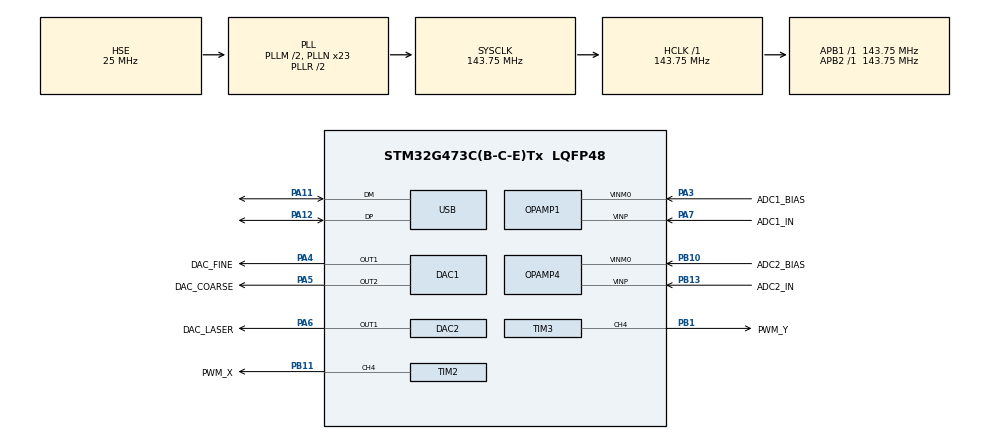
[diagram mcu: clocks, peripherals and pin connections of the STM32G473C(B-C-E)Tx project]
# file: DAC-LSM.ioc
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ADC1.Channel-2\#ChannelRegularConversion=ADC_CHANNEL_VOPAMP1
ADC1.EnableRegularConversion=ENABLE
ADC1.NbrOfConversionFlag=1
ADC1.OffsetNumber-2\#ChannelRegularConversion=ADC_OFFSET_NONE
ADC1.OversamplingMode=ENABLE
ADC1.Rank-2\#ChannelRegularConversion=1
ADC1.Ratio=ADC_OVERSAMPLING_RATIO_8
ADC1.SamplingTime-2\#ChannelRegularConversion=ADC_SAMPLETIME_2CYCLES_5
ADC1.master=1
ADC5.Channel-1\#ChannelRegularConversion=ADC_CHANNEL_VOPAMP4
ADC5.NbrOfConversionFlag=1
ADC5.OffsetNumber-1\#ChannelRegularConversion=ADC_OFFSET_NONE
ADC5.OversamplingMode=ENABLE
ADC5.Rank-1\#ChannelRegularConversion=1
ADC5.Ratio=ADC_OVERSAMPLING_RATIO_8
ADC5.SamplingTime-1\#ChannelRegularConversion=ADC_SAMPLETIME_2CYCLES_5
DAC1.DAC_Channel-DAC_OUT2=DAC_CHANNEL_2
DAC3.DAC_Channel-DAC_OUT2_Int=DAC_CHANNEL_2
Mcu.Family=STM32G4
Mcu.Name=STM32G473C(B-C-E)Tx
Mcu.Package=LQFP48
NVIC.PriorityGroup=NVIC_PRIORITYGROUP_4
NVIC.USB_LP_IRQn=true\:0\:0\:false\:false\:true\:false\:true\:true
PA11.Mode=Device
PA11.Signal=USB_DM
PA12.Mode=Device
PA12.Signal=USB_DP
PA13.Mode=Trace_Asynchronous_SW
PA13.Signal=SYS_JTMS-SWDIO
PA14.Mode=Trace_Asynchronous_SW
PA14.Signal=SYS_JTCK-SWCLK
PA3.GPIO_Label=ADC1_BIAS
PA3.Mode=PGA Internally connected_IO0_BIAS
PA3.Signal=OPAMP1_VINM0
PA4.GPIO_Label=DAC_FINE
PA4.Signal=COMP_DAC11_group
PA5.GPIO_Label=DAC_COARSE
PA5.Signal=COMP_DAC12_group
PA6.GPIO_Label=DAC_LASER
PA6.Signal=COMP_DAC21_group
PA7.GPIO_Label=ADC1_IN
PA7.Mode=PGA Internally connected_IO0_BIAS
PA7.Signal=OPAMP1_VINP
PB1.GPIO_Label=PWM_Y
PB1.Signal=S_TIM3_CH4
PB10.GPIO_Label=ADC2_BIAS
PB10.Mode=PGA Internally connected_IO0_BIAS
PB10.Signal=OPAMP4_VINM0
PB11.GPIO_Label=PWM_X
PB11.Signal=S_TIM2_CH4
PB13.GPIO_Label=ADC2_IN
PB13.Mode=PGA Internally connected_IO0_BIAS
PB13.Signal=OPAMP4_VINP
PB3.Mode=Trace_Asynchronous_SW
PB3.Signal=SYS_JTDO-SWO
PF0-OSC_IN.Mode=HSE-External-Oscillator
PF0-OSC_IN.Signal=RCC_OSC_IN
PF1-OSC_OUT.Mode=HSE-External-Oscillator
PF1-OSC_OUT.Signal=RCC_OSC_OUT
ProjectManager.HeapSize=0x200
ProjectManager.StackSize=0x400
ProjectManager.TargetToolchain=STM32CubeIDE
RCC.ADC12Freq_Value=143750000
RCC.ADC345Freq_Value=143750000
RCC.AHBFreq_Value=143750000
RCC.APB1Freq_Value=143750000
RCC.APB1TimFreq_Value=143750000
RCC.APB2Freq_Value=143750000
RCC.APB2TimFreq_Value=143750000
RCC.CortexFreq_Value=143750000
RCC.EXTERNAL_CLOCK_VALUE=12288000
RCC.HCLKFreq_Value=143750000
RCC.HSE_VALUE=25000000
RCC.HSI48_VALUE=48000000
RCC.HSI_VALUE=16000000
RCC.LSE_VALUE=32768
RCC.PLLM=RCC_PLLM_DIV2
RCC.PLLN=23
RCC.PLLQ=RCC_PLLQ_DIV6
RCC.PLLSourceVirtual=RCC_PLLSOURCE_HSE
RCC.SYSCLKFreq_VALUE=143750000
RCC.SYSCLKSource=RCC_SYSCLKSOURCE_PLLCLK
RCC.USBFreq_Value=47916666.666666664
RCC.VCOOutputFreq_Value=287500000
SH.COMP_DAC11_group.0=DAC1_OUT1,DAC_OUT1
SH.COMP_DAC12_group.0=DAC1_OUT2,DAC_OUT2
SH.COMP_DAC21_group.0=DAC2_OUT1,DAC_OUT1
SH.S_TIM2_CH4.0=TIM2_CH4,PWM Generation4 CH4
SH.S_TIM3_CH4.0=TIM3_CH4,PWM Generation4 CH4
TIM1.CounterMode=TIM_COUNTERMODE_UP
TIM1.PeriodNoDither=65535-1
TIM1.Prescaler=143.75-1
TIM2.Channel-PWM\ Generation4\ CH4=TIM_CHANNEL_4
TIM2.PeriodNoDither=4095
TIM2.Prescaler=2-1
TIM3.Channel-PWM\ Generation4\ CH4=TIM_CHANNEL_4
TIM3.PeriodNoDither=4095
TIM3.Prescaler=2-1
USB_DEVICE.CLASS_NAME_FS=CDC
USB_DEVICE.VirtualMode=Cdc
USB_DEVICE.VirtualModeFS=Cdc_FS
VP_ADC1_OPAMP_INTERNAL1.Mode=IN-OPAMP1
VP_ADC5_OPAMP_INTERNAL4.Mode=IN-OPAMP4
VP_DAC3_VS_DACI1.Mode=DAC_OUT1_Int
VP_DAC3_VS_DACI2.Mode=DAC_OUT2_Int
VP_TIM1_VS_ClockSourceINT.Mode=Internal
VP_USB_DEVICE_VS_USB_DEVICE_CDC_FS.Mode=CDC_FS
board=custom

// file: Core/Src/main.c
/* USER CODE BEGIN Header */
/**
 ******************************************************************************
 * @file           : main.c
 * @brief          : Main program body
 ******************************************************************************
 * @attention
 *
 * Copyright (c) 2023 STMicroelectronics.
 * All rights reserved.
 *
 * This software is licensed under terms that can be found in the LICENSE file
 * in the root directory of this software component.
 * If no LICENSE file comes with this software, it is provided AS-IS.
 *
 ******************************************************************************
 */
/* USER CODE END Header */
#include "main.h"
#include "usb_device.h"

/* USER CODE BEGIN Includes */
#include <string.h>
#include <stdbool.h>
#include <math.h>
#include <ctype.h>
#include "usbd_cdc_if.h"
#include<stdio.h>
#include<stdlib.h>
/* USER CODE END Includes */

ADC_HandleTypeDef hadc1;
ADC_HandleTypeDef hadc5;

DAC_HandleTypeDef hdac1;
DAC_HandleTypeDef hdac2;
DAC_HandleTypeDef hdac3;

OPAMP_HandleTypeDef hopamp1;
OPAMP_HandleTypeDef hopamp4;

TIM_HandleTypeDef htim1;
TIM_HandleTypeDef htim2;
TIM_HandleTypeDef htim3;

/* USER CODE BEGIN PV */
//1 -> int between 1 and 8191
uint16_t xRes = 200;
//2 -> int between 1 and 8191
uint16_t yRes = 200;
//3 -> int between 1 and 8191
uint16_t skipSteps = 1;

//4 -> int between 0 and 8191
uint16_t xOffset = 4095;
//5 -> int between 0 and 8191
uint16_t yOffset = 4095;
//8 -> int between 1 and 20
uint8_t adcAvg = 8;

//7 -> int between 0 and 2500
uint16_t laserPower = 2200;

//image data buffer -> set a little under the USB CDC 512 limit
static const uint16_t lenBuffer = 500;
static unsigned char imageData[500]; //apparently can't use lenBuffer

int pgaGain = OPAMP_PGA_GAIN_2_OR_MINUS_1;

int scanOffsetX = 0;
int scanOffsetY = 0;

/* USER CODE END PV */

void SystemClock_Config(void);
static void MX_GPIO_Init(void);
static void MX_ADC1_Init(void);
static void MX_ADC5_Init(void);
static void MX_OPAMP1_Init(void);
static void MX_OPAMP4_Init(void);
static void MX_TIM1_Init(void);
static void MX_DAC1_Init(void);
static void MX_DAC3_Init(void);
static void MX_DAC2_Init(void);
static void MX_TIM2_Init(void);
static void MX_TIM3_Init(void);

/* USER CODE BEGIN 0 */

//microsecond delay
void delay(uint32_t us) {
	//from AN4776 page 10, 1.3.1
	if (us > 65535) { //a check to see if the scans asks for bad delays
		printf("A delay of %d is too long!", us);
		us = 65535; //set to max
	}
	TIM1->ARR = us;
	TIM1->CNT = 0;
	TIM1->CR1 |= TIM_CR1_CEN; //enable timer
	while (TIM1->CNT < us)
		; //wait
	TIM1->CR1 &= ~TIM_CR1_CEN; //disable timer
}

//USB cdc transmit
//https://github.com/alexeykosinov/Redirect-printf-to-USB-VCP-on-STM32H7-MCU
int _write(int file, char *ptr, int len) {
	static uint8_t rc = USBD_OK;

	do {
		rc = CDC_Transmit_FS((unsigned char*) ptr, len);
	} while (USBD_BUSY == rc);

	if (USBD_FAIL == rc) {
		/// NOTE: Should never reach here.
		/// TODO: Handle this error.
		return 0;
	}
	return len;
}

//USB cdc receive
uint8_t buffer[64];
bool newReceived;

//ADC
uint32_t analogRead(uint8_t channel) {
	uint32_t ADCValue = 0;
	if (channel == 1) {
		HAL_ADC_Start(&hadc1);
		if (HAL_ADC_PollForConversion(&hadc1, 1000000) == HAL_OK) {
			ADCValue = HAL_ADC_GetValue(&hadc1);
		}
		HAL_ADC_Stop(&hadc1);
	} else if (channel == 5) {
		HAL_ADC_Start(&hadc5);
		if (HAL_ADC_PollForConversion(&hadc5, 1000000) == HAL_OK) {
			ADCValue = HAL_ADC_GetValue(&hadc5);
		}
		HAL_ADC_Stop(&hadc5);
	}

	return ADCValue/8; //divide by 8 for 8x oversampling
}

//parse usb serial input
uint16_t getNum() {
	uint16_t num = 0;
	for (int i = 1; i <= 4; i++) {
		if (isdigit(buffer[i])) { //only works if buffer isn't initialized with all zeros - shouldn't be
			num *= 10;
			num += buffer[i] - '0';
		}
	}
	return num;
}

//fine focus
//return true for successful focus, false for not
void fineFocus() {
	int32_t currentAdc;
	int16_t topAdc = -10000;
	int16_t bottomAdc = 10000;
	int16_t topDac = 0;
	int16_t bottomDac = 0;
	int16_t middleDac;
	int8_t precision = 2; //normally 7 for 13-bit

	//set offsets
	//HAL_DAC_SetValue(&hdac3, DAC_CHANNEL_1, DAC_ALIGN_12B_R, xOffset);
	htim2.Instance->CCR4 = xOffset;
	//HAL_DAC_SetValue(&hdac3, DAC_CHANNEL_2, DAC_ALIGN_12B_R, yOffset);
	htim3.Instance->CCR4 = yOffset;

	//set laser power
	HAL_DAC_SetValue(&hdac2, DAC_CHANNEL_1, DAC_ALIGN_12B_R, laserPower);
	//htim16.Instance->CCR1 = laserPower;

	//reset fine focus
	HAL_DAC_SetValue(&hdac1, DAC_CHANNEL_1, DAC_ALIGN_12B_R, 0);

	//delay to settle
	HAL_Delay(100);

	for (int i = 0; i < 4096; i += precision) { //can do +=5?
		HAL_DAC_SetValue(&hdac1, DAC_CHANNEL_1, DAC_ALIGN_12B_R, i);
		//delay_us(1000);
		HAL_Delay(8);
		currentAdc = 0;
		for (int a = 1; a <= adcAvg; a++) { //adc averaging
			currentAdc += analogRead(5) - analogRead(1);
			delay(50);
		}
		currentAdc = (currentAdc / adcAvg);
		if (currentAdc > topAdc) {
			topAdc = currentAdc;
			topDac = i;
			HAL_Delay(40);
		} else if (currentAdc < bottomAdc) {
			bottomAdc = currentAdc;
			bottomDac = i;
			HAL_Delay(40);
		}
		delay(6000);
		printf("%d,%d\r\n", i, currentAdc); //print to see curve
	}
	printf("Done\r\n");
	middleDac = ((topDac - bottomDac) / 2) + bottomDac;

	//temp offset
	middleDac += 40;

	for (int i = 0; i <= middleDac; i += precision) {
		HAL_DAC_SetValue(&hdac1, DAC_CHANNEL_1, DAC_ALIGN_12B_R, i);
		if (i <= 2) { //don't need large timer if not resetting axis
			HAL_Delay(200);
		} else {
			delay(2000);
		}
		currentAdc = 0;
		for (int a = 1; a <= adcAvg; a++) {
			currentAdc += analogRead(5) - analogRead(1);
			delay(50);
		}
		currentAdc = (currentAdc / adcAvg);
		printf("%d,%d\r\n", i, currentAdc);
		delay(1000);
	}

	HAL_Delay(300);
	printf("Done\r\n");
}

//coarse focus
void coarseFocus() {
	uint32_t sum = 0;
	uint16_t minDac = 0;
	uint8_t precision = 1;
	uint16_t minSum = 10000;

	//set offsets
	//HAL_DAC_SetValue(&hdac3, DAC_CHANNEL_1, DAC_ALIGN_12B_R, xOffset);
	htim2.Instance->CCR4 = xOffset;
	//HAL_DAC_SetValue(&hdac3, DAC_CHANNEL_2, DAC_ALIGN_12B_R, yOffset);
	htim3.Instance->CCR4 = yOffset;

	//set fine focus to close-to-center to avoid center instability and coarse to start
	HAL_DAC_SetValue(&hdac1, DAC_CHANNEL_1, DAC_ALIGN_12B_R, 2800);

	//reset coarse focus
	HAL_DAC_SetValue(&hdac1, DAC_CHANNEL_2, DAC_ALIGN_12B_R, 0);

	//set laser power
	HAL_DAC_SetValue(&hdac2, DAC_CHANNEL_1, DAC_ALIGN_12B_R, laserPower);
	//htim16.Instance->CCR1 = laserPower;

	//delay to settle
	HAL_Delay(100);

	for (int i = 0; i < 4096; i += precision) {
		HAL_DAC_SetValue(&hdac1, DAC_CHANNEL_2, DAC_ALIGN_12B_R, i);
		delay(1000);
		sum = 0;
		for (int a = 1; a <= adcAvg; a++) {
			sum += analogRead(5) + analogRead(1);
			delay(50);
		}
		sum = (sum / adcAvg);
		if (sum < minSum) { //values get smaller as light increases (inverted)
			minSum = sum;
			minDac = i;
		}
		delay(1000);
		printf("%d,%d\r\n", i, sum); //print to see curve
	}
	printf("Done\r\n");

	// wind back to avoid dislodging sample
	for (int i = 4095; i >= 0; i -= precision) {
		HAL_DAC_SetValue(&hdac1, DAC_CHANNEL_2, DAC_ALIGN_12B_R, i);
		delay(200);
	}

	delay(2000);
	for (int i = 0; i <= minDac; i += precision) {
		HAL_DAC_SetValue(&hdac1, DAC_CHANNEL_2, DAC_ALIGN_12B_R, i);
		delay(1000);
		sum = 0;
		for (int a = 1; a <= adcAvg; a++) {
			sum += analogRead(5) + analogRead(1);
			delay(50);
		}
		sum = (sum / adcAvg);
		printf("%d,%d\r\n", i, sum);
		delay(1000);
	}

	HAL_Delay(300);
	printf("Done\r\n");
}

//main scan
void scan() {
	//TODO: swap UI readline for read until char (look at docs for pyserial) and only append a \r\n when sending a row
	int raw;

	uint16_t usedCounter = 0; //keep track of how much of the array has been filled

	//set laser power
	HAL_DAC_SetValue(&hdac2, DAC_CHANNEL_1, DAC_ALIGN_12B_R, laserPower);
	//htim16.Instance->CCR1 = laserPower;

	//fix artifacts at top of image by resetting properly

//	//wind back Y scan to avoid shaking sample (might error out if register is not set?)
//	int currentY = htim3.Instance->CCR4;
//	if (scanOffsetY < currentY) {
//		for (int y = currentY; y >= scanOffsetY; y--) {
//			htim3.Instance->CCR4 = y;
//			delay(200);
//		}
//	} else if (scanOffsetY > currentY) {
//		for (int y = currentY; y <= scanOffsetY; y++) {
//					htim3.Instance->CCR4 = y;
//					delay(200);
//		}
//	}
	HAL_DAC_SetValue(&hdac3, DAC_CHANNEL_1, DAC_ALIGN_12B_R, xOffset);
	HAL_DAC_SetValue(&hdac3, DAC_CHANNEL_2, DAC_ALIGN_12B_R, yOffset);

	HAL_Delay(100);

	//printf("starting scan loop\r\n"); //disabling so I can straight copy values
	for (int y = 0; y < yRes; y++) {
		HAL_DAC_SetValue(&hdac3, DAC_CHANNEL_2, DAC_ALIGN_12B_R, scanOffsetY + (y * skipSteps));
		if (y <= 1) {
			HAL_Delay(yRes / 4); // normally yRes * skipSteps / 4
		}
		HAL_Delay(yRes / 15);
		for (int x = 0; x < xRes; x++) {
			//will send leftover data on new row if there is any
			if (usedCounter >= lenBuffer - 20) { //give 20 buffer to avoid exceeding the length of the array.
			//imageData[usedCounter+1] = '\r';
			//imageData[usedCounter+2] = '\n';
				static uint8_t rc = USBD_OK;
				do {
					rc = CDC_Transmit_FS(imageData, usedCounter);
				} while (USBD_BUSY == rc);

				if (USBD_FAIL == rc) {
					printf("Failed to send image\r\n");
					return;
				}
				HAL_Delay(lenBuffer / 10);
				memset(imageData, 0, lenBuffer);
				usedCounter = 0;
			}
			raw = 0;
			HAL_DAC_SetValue(&hdac3, DAC_CHANNEL_1, DAC_ALIGN_12B_R, scanOffsetX + (x * skipSteps));
			if (x <= 2) { //don't need large timer if not resetting axis
				HAL_Delay(xRes / 4); //is too slow as skipSteps gets higher -> should be more weighted for resolution, as that's where stability is needed?
			} else {
				delay(xRes * 10);
			}
			for (int i = 1; i <= adcAvg; i++) {
				raw += analogRead(5) + analogRead(1);
				delay(50);
			}
			raw = 8191 - (raw / adcAvg);

			if (x + 1 == xRes) {
				usedCounter += sprintf(imageData + usedCounter, "%d\r\n", raw);
			} else {
				usedCounter += sprintf(imageData + usedCounter, "%d,", raw);
			}
		}
		delay(10000); //change to a delay based on resolution?0000000000000000000
	}
	//do one last send of leftovers here
	if (usedCounter > 0) {
		//imageData[usedCounter+1] = '\r'; //might not need these since not using readline
		//imageData[usedCounter+2] = '\n';
		static uint8_t rc = USBD_OK;
		do {
			rc = CDC_Transmit_FS(imageData, usedCounter);
		} while (USBD_BUSY == rc);

		if (USBD_FAIL == rc) {
			printf("Failed to send image\r\n");
			return;
		}
		HAL_Delay(lenBuffer / 10);
		memset(imageData, 0, lenBuffer);
		usedCounter = 0;
	}
}

void fastScan() {

	int raw;

	HAL_DAC_SetValue(&hdac2, DAC_CHANNEL_1, DAC_ALIGN_12B_R, laserPower);
	//htim16.Instance->CCR1 = laserPower;

	//set offsets
	//HAL_DAC_SetValue(&hdac3, DAC_CHANNEL_1, DAC_ALIGN_12B_R, xOffset);
	htim2.Instance->CCR4 = xOffset;
	//HAL_DAC_SetValue(&hdac3, DAC_CHANNEL_2, DAC_ALIGN_12B_R, yOffset);
	htim3.Instance->CCR4 = yOffset;

	for (int y = 0; y < yRes; y++) {

		if (y == 0) {
			//HAL_DAC_SetValue(&hdac3, DAC_CHANNEL_2, DAC_ALIGN_12B_R, (scanOffsetY + (yRes*skipSteps)/2.55));
			htim3.Instance->CCR4 = (scanOffsetY + (yRes*skipSteps)/2.55);
			delay(8197); //half of 61hz, resonance frequency of SF-HD65
		}

		//HAL_DAC_SetValue(&hdac3, DAC_CHANNEL_2, DAC_ALIGN_12B_R, (scanOffsetY + (y * skipSteps)));
		htim3.Instance->CCR4 = (scanOffsetY + (y * skipSteps));

		for (int x = 0; x < xRes; x++) {
			raw = 0;

			//ringing compensation
			if (x == 0) {
				//HAL_DAC_SetValue(&hdac3, DAC_CHANNEL_1, DAC_ALIGN_12B_R, (scanOffsetX + (xRes*skipSteps)/2.55));
				htim2.Instance->CCR4 = (scanOffsetX + (xRes*skipSteps)/2.1);
				delay(8197); //half of 61hz, resonance frequency of SF-HD65
			}

			//HAL_DAC_SetValue(&hdac3, DAC_CHANNEL_1, DAC_ALIGN_12B_R, (scanOffsetX + (x * skipSteps)));
			htim2.Instance->CCR4 = (scanOffsetX + (x * skipSteps));

			for (int i = 1; i <= adcAvg; i++) {
				raw += analogRead(5) + analogRead(1); //takes a lot of time
			}
			raw = 8191 - (raw / adcAvg);

			if (x + 1 == xRes) {
				printf("%d\r\n", raw);
			} else {
				printf("%d,", raw);
			}
		}

		//add delay later
	}
	printf("%d\r\n", 0);
}
/* USER CODE END 0 */

int main(void)
{

  /* MCU Configuration--------------------------------------------------------*/

  /* Reset of all peripherals, Initializes the Flash interface and the Systick. */
  HAL_Init();

  /* Configure the system clock */
  SystemClock_Config();

  /* Initialize all configured peripherals */
  MX_GPIO_Init();
  MX_ADC1_Init();
  MX_ADC5_Init();
  MX_OPAMP1_Init();
  MX_OPAMP4_Init();
  MX_USB_Device_Init();
  MX_TIM1_Init();
  MX_DAC1_Init();
  MX_DAC3_Init();
  MX_DAC2_Init();
  MX_TIM2_Init();
  MX_TIM3_Init();
  /* USER CODE BEGIN 2 */
	//DAC setup
	HAL_DAC_Start(&hdac1, DAC_CHANNEL_1);
	HAL_DAC_Start(&hdac1, DAC_CHANNEL_2);
	HAL_DAC_Start(&hdac2, DAC_CHANNEL_1);
	//HAL_DAC_Start(&hdac3, DAC_CHANNEL_1);
	//HAL_DAC_Start(&hdac3, DAC_CHANNEL_2);

	//ADC setup
	//HAL_ADC_Start(&hadc1);
	HAL_ADCEx_Calibration_Start(&hadc1, ADC_SINGLE_ENDED);
	//HAL_ADC_Start(&hadc5);
	HAL_ADCEx_Calibration_Start(&hadc5, ADC_SINGLE_ENDED);

	//opamp setup for ADC inputs
	HAL_OPAMP_Start(&hopamp1);
	HAL_OPAMP_Start(&hopamp4);

	//opamp start for DAC outputs
	//HAL_OPAMP_Start(&hopamp3);
	//HAL_OPAMP_Start(&hopamp6);

	//timer setup
	HAL_TIM_Base_Start(&htim1);

//	//laser pwm setup
//	HAL_TIM_Base_Start(&htim16);
//	HAL_TIM_PWM_Init(&htim16);
//	HAL_TIM_PWM_Start(&htim16, TIM_CHANNEL_1);

	//PWM start
	HAL_TIM_Base_Start(&htim2);
	HAL_TIM_PWM_Init(&htim2);

	HAL_TIM_Base_Start(&htim3);
	HAL_TIM_PWM_Init(&htim3);

	HAL_TIM_PWM_Start(&htim2, TIM_CHANNEL_4); //x
	HAL_TIM_PWM_Start(&htim3, TIM_CHANNEL_4); //y

  /* USER CODE END 2 */

  /* Infinite loop */
	while (1) {

    /* USER CODE BEGIN 3 */
		//turn off between commands
		HAL_DAC_SetValue(&hdac2, DAC_CHANNEL_1, DAC_ALIGN_12B_R, 0);
		//htim16.Instance->CCR1 = 0;

		//TODO: Have interrupt to kill program if USB is disconnected?
		//TODO: change ADC opamps to "fast mode"?
		//DAC
		//out2-ch1 = laser

		//protocol:
		//first char -> 0-9:
		//0=start scan
		//1=change x resolution
		//2=change y resolution
		//3=change number of steps to skip (aka zoom -> steps to skip * resolution = scan area out of 8192)
		//4=change X offset
		//5=change Y offset
		//6=change opamp gain
		//7=change laser power
		//8=change number of ADC samples to average - use DMA later
		//9=fine or coarse focus
		//*10=change whether to output FES or SUM or both (aka just the two ADC values raw) - not needed yet

		//After leading number, rest is dependent on choice
		//setup with default values
		//0 -> no input after

		//missing vars are above

		//6 -> int between 0 and 5 (0=2x, 1=4x, 2=8x, 3=16x, 4=32x, 5=64x)
		uint8_t adcGain = 1;

		//buffer[0]
		uint8_t start;

		//value of following data after buffer[0]
		uint16_t num = 0;

		//missing is above
		//9 -> (1=fine focus, 2=coarse focus).

		//when starting a scan, do checks to make sure you aren't exceeding 8192 for any VCM output, and not exceeding 2500 for laser input.
		//avoid floats?
		if (newReceived) {
			//printf("Received\r\n");
			//hangs on line below -> when I send loads of 0s, it only shows one in the buffer.
			if (buffer[0] == '0') {
				start = 0;
			} else {
				start = buffer[0] - '0';
			}
			num = getNum();
			switch (start) {
			case 0:
				//printf("Scanning\r\n");
				scanOffsetX = xOffset - (xRes * skipSteps / 2); // set focus to center of scanned image (make sure > 0)
				scanOffsetY = yOffset - (yRes * skipSteps / 2);

				if ((scanOffsetX + (xRes * skipSteps)) < 4096 && (scanOffsetX + (xRes * skipSteps)) >= 0) {
					if ((scanOffsetY + (yRes * skipSteps)) < 4096 && (scanOffsetY + (yRes * skipSteps)) >= 0) {
						if (num == 1) { //disable flipping for now
							//scan();
							fastScan();
							HAL_Delay(1);
						}
					} else {
						printf("X offset, res or skipSteps too high!\r\n");
					}
				} else {
					printf("Y offset, res or skipSteps too high!\r\n");
				}
				break;
			case 1:
				if (num < 4096 && num > 0) {
					xRes = num;
				}
				//printf("%d\r\n", xRes);
				break;
			case 2:
				if (num < 4096 && num > 0) {
					yRes = num;
				}
				//printf("%d\r\n", yRes);
				break;
			case 3:
				if (num < 4096 && num > 0) {
					skipSteps = num;
				}
				//printf("%d\r\n", skipSteps);
				break;
			case 4:
				//apply offsets here so that focus is on the correct scan area, or apply in focus functions
				if (num < 4096) {
					xOffset = num;
				}
				//printf("%d\r\n", xOffset);
				break;
			case 5:
				if (num < 4096) {
					yOffset = num;
				}
				//printf("%d\r\n", yOffset);
				break;
			case 6:
				if (num <= 5) {
					adcGain = num;
					HAL_OPAMP_Stop(&hopamp1);
					HAL_OPAMP_Stop(&hopamp4);
					switch (adcGain) {
					case 0:
						pgaGain = OPAMP_PGA_GAIN_2_OR_MINUS_1;
						break;
					case 1:
						pgaGain = OPAMP_PGA_GAIN_4_OR_MINUS_3;
						break;
					case 2:
						pgaGain = OPAMP_PGA_GAIN_8_OR_MINUS_7;
						break;
					case 3:
						pgaGain = OPAMP_PGA_GAIN_16_OR_MINUS_15;
						break;
					case 4:
						pgaGain = OPAMP_PGA_GAIN_32_OR_MINUS_31;
						break;
					case 5:
						pgaGain = OPAMP_PGA_GAIN_64_OR_MINUS_63;
						break;
					}
					HAL_Delay(2); //just to give it time to shut down?
					MX_OPAMP1_Init();
					MX_OPAMP4_Init();
					HAL_Delay(2); //just to give it time to start up?
					HAL_OPAMP_Start(&hopamp1);
					HAL_OPAMP_Start(&hopamp4);
				}
				//printf("%d\r\n", adcGain);
				break;
			case 7:
				if (num <= 2500) {
					laserPower = num;
				}
				//printf("%d\r\n", laserPower);
				break;
			case 8:
				if (num <= 20 && num != 0) {
					adcAvg = num;
				}
				//printf("%d\r\n", adcAvg);
				break;
			case 9:
				if (num == 1) {
					fineFocus();
				} else if (num == 2) {
					coarseFocus();
				} else {
					printf("Bad input\r\n");
				}
				break;
			}

			newReceived = false;
		}
		HAL_Delay(10); //10ms polling delay
	}
  /* USER CODE END 3 */
}

void SystemClock_Config(void)
{
  RCC_OscInitTypeDef RCC_OscInitStruct = {0};
  RCC_ClkInitTypeDef RCC_ClkInitStruct = {0};

  /** Configure the main internal regulator output voltage
  */
  HAL_PWREx_ControlVoltageScaling(PWR_REGULATOR_VOLTAGE_SCALE1);

  /** Initializes the RCC Oscillators according to the specified parameters
  * in the RCC_OscInitTypeDef structure.
  */
  RCC_OscInitStruct.OscillatorType = RCC_OSCILLATORTYPE_HSE;
  RCC_OscInitStruct.HSEState = RCC_HSE_ON;
  RCC_OscInitStruct.PLL.PLLState = RCC_PLL_ON;
  RCC_OscInitStruct.PLL.PLLSource = RCC_PLLSOURCE_HSE;
  RCC_OscInitStruct.PLL.PLLM = RCC_PLLM_DIV2;
  RCC_OscInitStruct.PLL.PLLN = 23;
  RCC_OscInitStruct.PLL.PLLP = RCC_PLLP_DIV2;
  RCC_OscInitStruct.PLL.PLLQ = RCC_PLLQ_DIV6;
  RCC_OscInitStruct.PLL.PLLR = RCC_PLLR_DIV2;
  if (HAL_RCC_OscConfig(&RCC_OscInitStruct) != HAL_OK)
  {
    Error_Handler();
  }

  /** Initializes the CPU, AHB and APB buses clocks
  */
  RCC_ClkInitStruct.ClockType = RCC_CLOCKTYPE_HCLK|RCC_CLOCKTYPE_SYSCLK
                              |RCC_CLOCKTYPE_PCLK1|RCC_CLOCKTYPE_PCLK2;
  RCC_ClkInitStruct.SYSCLKSource = RCC_SYSCLKSOURCE_PLLCLK;
  RCC_ClkInitStruct.AHBCLKDivider = RCC_SYSCLK_DIV1;
  RCC_ClkInitStruct.APB1CLKDivider = RCC_HCLK_DIV1;
  RCC_ClkInitStruct.APB2CLKDivider = RCC_HCLK_DIV1;

  if (HAL_RCC_ClockConfig(&RCC_ClkInitStruct, FLASH_LATENCY_4) != HAL_OK)
  {
    Error_Handler();
  }
}

static void MX_ADC1_Init(void)
{

  ADC_MultiModeTypeDef multimode = {0};
  ADC_ChannelConfTypeDef sConfig = {0};

  /** Common config
  */
  hadc1.Instance = ADC1;
  hadc1.Init.ClockPrescaler = ADC_CLOCK_SYNC_PCLK_DIV4;
  hadc1.Init.Resolution = ADC_RESOLUTION_12B;
  hadc1.Init.DataAlign = ADC_DATAALIGN_RIGHT;
  hadc1.Init.GainCompensation = 0;
  hadc1.Init.ScanConvMode = ADC_SCAN_DISABLE;
  hadc1.Init.EOCSelection = ADC_EOC_SINGLE_CONV;
  hadc1.Init.LowPowerAutoWait = DISABLE;
  hadc1.Init.ContinuousConvMode = DISABLE;
  hadc1.Init.NbrOfConversion = 1;
  hadc1.Init.DiscontinuousConvMode = DISABLE;
  hadc1.Init.ExternalTrigConv = ADC_SOFTWARE_START;
  hadc1.Init.ExternalTrigConvEdge = ADC_EXTERNALTRIGCONVEDGE_NONE;
  hadc1.Init.DMAContinuousRequests = DISABLE;
  hadc1.Init.Overrun = ADC_OVR_DATA_PRESERVED;
  hadc1.Init.OversamplingMode = ENABLE;
  hadc1.Init.Oversampling.Ratio = ADC_OVERSAMPLING_RATIO_8;
  hadc1.Init.Oversampling.RightBitShift = ADC_RIGHTBITSHIFT_NONE;
  hadc1.Init.Oversampling.TriggeredMode = ADC_TRIGGEREDMODE_SINGLE_TRIGGER;
  hadc1.Init.Oversampling.OversamplingStopReset = ADC_REGOVERSAMPLING_CONTINUED_MODE;
  if (HAL_ADC_Init(&hadc1) != HAL_OK)
  {
    Error_Handler();
  }

  /** Configure the ADC multi-mode
  */
  multimode.Mode = ADC_MODE_INDEPENDENT;
  if (HAL_ADCEx_MultiModeConfigChannel(&hadc1, &multimode) != HAL_OK)
  {
    Error_Handler();
  }

  /** Configure Regular Channel
  */
  sConfig.Channel = ADC_CHANNEL_VOPAMP1;
  sConfig.Rank = ADC_REGULAR_RANK_1;
  sConfig.SamplingTime = ADC_SAMPLETIME_2CYCLES_5;
  sConfig.SingleDiff = ADC_SINGLE_ENDED;
  sConfig.OffsetNumber = ADC_OFFSET_NONE;
  sConfig.Offset = 0;
  if (HAL_ADC_ConfigChannel(&hadc1, &sConfig) != HAL_OK)
  {
    Error_Handler();
  }

}

static void MX_ADC5_Init(void)
{

  ADC_ChannelConfTypeDef sConfig = {0};

  /** Common config
  */
  hadc5.Instance = ADC5;
  hadc5.Init.ClockPrescaler = ADC_CLOCK_SYNC_PCLK_DIV4;
  hadc5.Init.Resolution = ADC_RESOLUTION_12B;
  hadc5.Init.DataAlign = ADC_DATAALIGN_RIGHT;
  hadc5.Init.GainCompensation = 0;
  hadc5.Init.ScanConvMode = ADC_SCAN_DISABLE;
  hadc5.Init.EOCSelection = ADC_EOC_SINGLE_CONV;
  hadc5.Init.LowPowerAutoWait = DISABLE;
  hadc5.Init.ContinuousConvMode = DISABLE;
  hadc5.Init.NbrOfConversion = 1;
  hadc5.Init.DiscontinuousConvMode = DISABLE;
  hadc5.Init.ExternalTrigConv = ADC_SOFTWARE_START;
  hadc5.Init.ExternalTrigConvEdge = ADC_EXTERNALTRIGCONVEDGE_NONE;
  hadc5.Init.DMAContinuousRequests = DISABLE;
  hadc5.Init.Overrun = ADC_OVR_DATA_PRESERVED;
  hadc5.Init.OversamplingMode = ENABLE;
  hadc5.Init.Oversampling.Ratio = ADC_OVERSAMPLING_RATIO_8;
  hadc5.Init.Oversampling.RightBitShift = ADC_RIGHTBITSHIFT_NONE;
  hadc5.Init.Oversampling.TriggeredMode = ADC_TRIGGEREDMODE_SINGLE_TRIGGER;
  hadc5.Init.Oversampling.OversamplingStopReset = ADC_REGOVERSAMPLING_CONTINUED_MODE;
  if (HAL_ADC_Init(&hadc5) != HAL_OK)
  {
    Error_Handler();
  }

  /** Configure Regular Channel
  */
  sConfig.Channel = ADC_CHANNEL_VOPAMP4;
  sConfig.Rank = ADC_REGULAR_RANK_1;
  sConfig.SamplingTime = ADC_SAMPLETIME_2CYCLES_5;
  sConfig.SingleDiff = ADC_SINGLE_ENDED;
  sConfig.OffsetNumber = ADC_OFFSET_NONE;
  sConfig.Offset = 0;
  if (HAL_ADC_ConfigChannel(&hadc5, &sConfig) != HAL_OK)
  {
    Error_Handler();
  }

}

static void MX_DAC1_Init(void)
{

  DAC_ChannelConfTypeDef sConfig = {0};

  /** DAC Initialization
  */
  hdac1.Instance = DAC1;
  if (HAL_DAC_Init(&hdac1) != HAL_OK)
  {
    Error_Handler();
  }

  /** DAC channel OUT1 config
  */
  sConfig.DAC_HighFrequency = DAC_HIGH_FREQUENCY_INTERFACE_MODE_AUTOMATIC;
  sConfig.DAC_DMADoubleDataMode = DISABLE;
  sConfig.DAC_SignedFormat = DISABLE;
  sConfig.DAC_SampleAndHold = DAC_SAMPLEANDHOLD_DISABLE;
  sConfig.DAC_Trigger = DAC_TRIGGER_NONE;
  sConfig.DAC_Trigger2 = DAC_TRIGGER_NONE;
  sConfig.DAC_OutputBuffer = DAC_OUTPUTBUFFER_ENABLE;
  sConfig.DAC_ConnectOnChipPeripheral = DAC_CHIPCONNECT_EXTERNAL;
  sConfig.DAC_UserTrimming = DAC_TRIMMING_FACTORY;
  if (HAL_DAC_ConfigChannel(&hdac1, &sConfig, DAC_CHANNEL_1) != HAL_OK)
  {
    Error_Handler();
  }

  /** DAC channel OUT2 config
  */
  if (HAL_DAC_ConfigChannel(&hdac1, &sConfig, DAC_CHANNEL_2) != HAL_OK)
  {
    Error_Handler();
  }

}

static void MX_DAC2_Init(void)
{

  DAC_ChannelConfTypeDef sConfig = {0};

  /** DAC Initialization
  */
  hdac2.Instance = DAC2;
  if (HAL_DAC_Init(&hdac2) != HAL_OK)
  {
    Error_Handler();
  }

  /** DAC channel OUT1 config
  */
  sConfig.DAC_HighFrequency = DAC_HIGH_FREQUENCY_INTERFACE_MODE_AUTOMATIC;
  sConfig.DAC_DMADoubleDataMode = DISABLE;
  sConfig.DAC_SignedFormat = DISABLE;
  sConfig.DAC_SampleAndHold = DAC_SAMPLEANDHOLD_DISABLE;
  sConfig.DAC_Trigger = DAC_TRIGGER_NONE;
  sConfig.DAC_Trigger2 = DAC_TRIGGER_NONE;
  sConfig.DAC_OutputBuffer = DAC_OUTPUTBUFFER_ENABLE;
  sConfig.DAC_ConnectOnChipPeripheral = DAC_CHIPCONNECT_EXTERNAL;
  sConfig.DAC_UserTrimming = DAC_TRIMMING_FACTORY;
  if (HAL_DAC_ConfigChannel(&hdac2, &sConfig, DAC_CHANNEL_1) != HAL_OK)
  {
    Error_Handler();
  }

}

static void MX_DAC3_Init(void)
{

  DAC_ChannelConfTypeDef sConfig = {0};

  /** DAC Initialization
  */
  hdac3.Instance = DAC3;
  if (HAL_DAC_Init(&hdac3) != HAL_OK)
  {
    Error_Handler();
  }

  /** DAC channel OUT1 config
  */
  sConfig.DAC_HighFrequency = DAC_HIGH_FREQUENCY_INTERFACE_MODE_AUTOMATIC;
  sConfig.DAC_DMADoubleDataMode = DISABLE;
  sConfig.DAC_SignedFormat = DISABLE;
  sConfig.DAC_SampleAndHold = DAC_SAMPLEANDHOLD_DISABLE;
  sConfig.DAC_Trigger = DAC_TRIGGER_NONE;
  sConfig.DAC_Trigger2 = DAC_TRIGGER_NONE;
  sConfig.DAC_OutputBuffer = DAC_OUTPUTBUFFER_DISABLE;
  sConfig.DAC_ConnectOnChipPeripheral = DAC_CHIPCONNECT_INTERNAL;
  sConfig.DAC_UserTrimming = DAC_TRIMMING_FACTORY;
  if (HAL_DAC_ConfigChannel(&hdac3, &sConfig, DAC_CHANNEL_1) != HAL_OK)
  {
    Error_Handler();
  }

  /** DAC channel OUT2 config
  */
  if (HAL_DAC_ConfigChannel(&hdac3, &sConfig, DAC_CHANNEL_2) != HAL_OK)
  {
    Error_Handler();
  }

}

static void MX_OPAMP1_Init(void)
{

  hopamp1.Instance = OPAMP1;
  hopamp1.Init.PowerMode = OPAMP_POWERMODE_NORMALSPEED;
  hopamp1.Init.Mode = OPAMP_PGA_MODE;
  hopamp1.Init.NonInvertingInput = OPAMP_NONINVERTINGINPUT_IO2;
  hopamp1.Init.InternalOutput = ENABLE;
  hopamp1.Init.TimerControlledMuxmode = OPAMP_TIMERCONTROLLEDMUXMODE_DISABLE;
  hopamp1.Init.PgaConnect = OPAMP_PGA_CONNECT_INVERTINGINPUT_IO0_BIAS;
  hopamp1.Init.PgaGain = OPAMP_PGA_GAIN_2_OR_MINUS_1;
  hopamp1.Init.UserTrimming = OPAMP_TRIMMING_FACTORY;
  if (HAL_OPAMP_Init(&hopamp1) != HAL_OK)
  {
    Error_Handler();
  }

}

static void MX_OPAMP4_Init(void)
{

  hopamp4.Instance = OPAMP4;
  hopamp4.Init.PowerMode = OPAMP_POWERMODE_NORMALSPEED;
  hopamp4.Init.Mode = OPAMP_PGA_MODE;
  hopamp4.Init.NonInvertingInput = OPAMP_NONINVERTINGINPUT_IO0;
  hopamp4.Init.InternalOutput = ENABLE;
  hopamp4.Init.TimerControlledMuxmode = OPAMP_TIMERCONTROLLEDMUXMODE_DISABLE;
  hopamp4.Init.PgaConnect = OPAMP_PGA_CONNECT_INVERTINGINPUT_IO0_BIAS;
  hopamp4.Init.PgaGain = OPAMP_PGA_GAIN_2_OR_MINUS_1;
  hopamp4.Init.UserTrimming = OPAMP_TRIMMING_FACTORY;
  if (HAL_OPAMP_Init(&hopamp4) != HAL_OK)
  {
    Error_Handler();
  }

}

static void MX_TIM1_Init(void)
{

  TIM_ClockConfigTypeDef sClockSourceConfig = {0};
  TIM_MasterConfigTypeDef sMasterConfig = {0};

  htim1.Instance = TIM1;
  htim1.Init.Prescaler = 143.75-1;
  htim1.Init.CounterMode = TIM_COUNTERMODE_UP;
  htim1.Init.Period = 65534;
  htim1.Init.ClockDivision = TIM_CLOCKDIVISION_DIV1;
  htim1.Init.RepetitionCounter = 0;
  htim1.Init.AutoReloadPreload = TIM_AUTORELOAD_PRELOAD_DISABLE;
  if (HAL_TIM_Base_Init(&htim1) != HAL_OK)
  {
    Error_Handler();
  }
  sClockSourceConfig.ClockSource = TIM_CLOCKSOURCE_INTERNAL;
  if (HAL_TIM_ConfigClockSource(&htim1, &sClockSourceConfig) != HAL_OK)
  {
    Error_Handler();
  }
  sMasterConfig.MasterOutputTrigger = TIM_TRGO_RESET;
  sMasterConfig.MasterOutputTrigger2 = TIM_TRGO2_RESET;
  sMasterConfig.MasterSlaveMode = TIM_MASTERSLAVEMODE_DISABLE;
  if (HAL_TIMEx_MasterConfigSynchronization(&htim1, &sMasterConfig) != HAL_OK)
  {
    Error_Handler();
  }

}

static void MX_TIM2_Init(void)
{

  TIM_MasterConfigTypeDef sMasterConfig = {0};
  TIM_OC_InitTypeDef sConfigOC = {0};

  htim2.Instance = TIM2;
  htim2.Init.Prescaler = 0;
  htim2.Init.CounterMode = TIM_COUNTERMODE_UP;
  htim2.Init.Period = 4095;
  htim2.Init.ClockDivision = TIM_CLOCKDIVISION_DIV1;
  htim2.Init.AutoReloadPreload = TIM_AUTORELOAD_PRELOAD_DISABLE;
  if (HAL_TIM_PWM_Init(&htim2) != HAL_OK)
  {
    Error_Handler();
  }
  sMasterConfig.MasterOutputTrigger = TIM_TRGO_RESET;
  sMasterConfig.MasterSlaveMode = TIM_MASTERSLAVEMODE_DISABLE;
  if (HAL_TIMEx_MasterConfigSynchronization(&htim2, &sMasterConfig) != HAL_OK)
  {
    Error_Handler();
  }
  sConfigOC.OCMode = TIM_OCMODE_PWM1;
  sConfigOC.Pulse = 0;
  sConfigOC.OCPolarity = TIM_OCPOLARITY_HIGH;
  sConfigOC.OCFastMode = TIM_OCFAST_DISABLE;
  if (HAL_TIM_PWM_ConfigChannel(&htim2, &sConfigOC, TIM_CHANNEL_4) != HAL_OK)
  {
    Error_Handler();
  }
  HAL_TIM_MspPostInit(&htim2);

}

static void MX_TIM3_Init(void)
{

  TIM_MasterConfigTypeDef sMasterConfig = {0};
  TIM_OC_InitTypeDef sConfigOC = {0};

  htim3.Instance = TIM3;
  htim3.Init.Prescaler = 0;
  htim3.Init.CounterMode = TIM_COUNTERMODE_UP;
  htim3.Init.Period = 4095;
  htim3.Init.ClockDivision = TIM_CLOCKDIVISION_DIV1;
  htim3.Init.AutoReloadPreload = TIM_AUTORELOAD_PRELOAD_DISABLE;
  if (HAL_TIM_PWM_Init(&htim3) != HAL_OK)
  {
    Error_Handler();
  }
  sMasterConfig.MasterOutputTrigger = TIM_TRGO_RESET;
  sMasterConfig.MasterSlaveMode = TIM_MASTERSLAVEMODE_DISABLE;
  if (HAL_TIMEx_MasterConfigSynchronization(&htim3, &sMasterConfig) != HAL_OK)
  {
    Error_Handler();
  }
  sConfigOC.OCMode = TIM_OCMODE_PWM1;
  sConfigOC.Pulse = 0;
  sConfigOC.OCPolarity = TIM_OCPOLARITY_HIGH;
  sConfigOC.OCFastMode = TIM_OCFAST_DISABLE;
  if (HAL_TIM_PWM_ConfigChannel(&htim3, &sConfigOC, TIM_CHANNEL_4) != HAL_OK)
  {
    Error_Handler();
  }
  HAL_TIM_MspPostInit(&htim3);

}

static void MX_GPIO_Init(void)
{

  /* GPIO Ports Clock Enable */
  __HAL_RCC_GPIOF_CLK_ENABLE();
  __HAL_RCC_GPIOA_CLK_ENABLE();
  __HAL_RCC_GPIOB_CLK_ENABLE();

}

void Error_Handler(void)
{
	__disable_irq();
	while (1) {
	}
}
